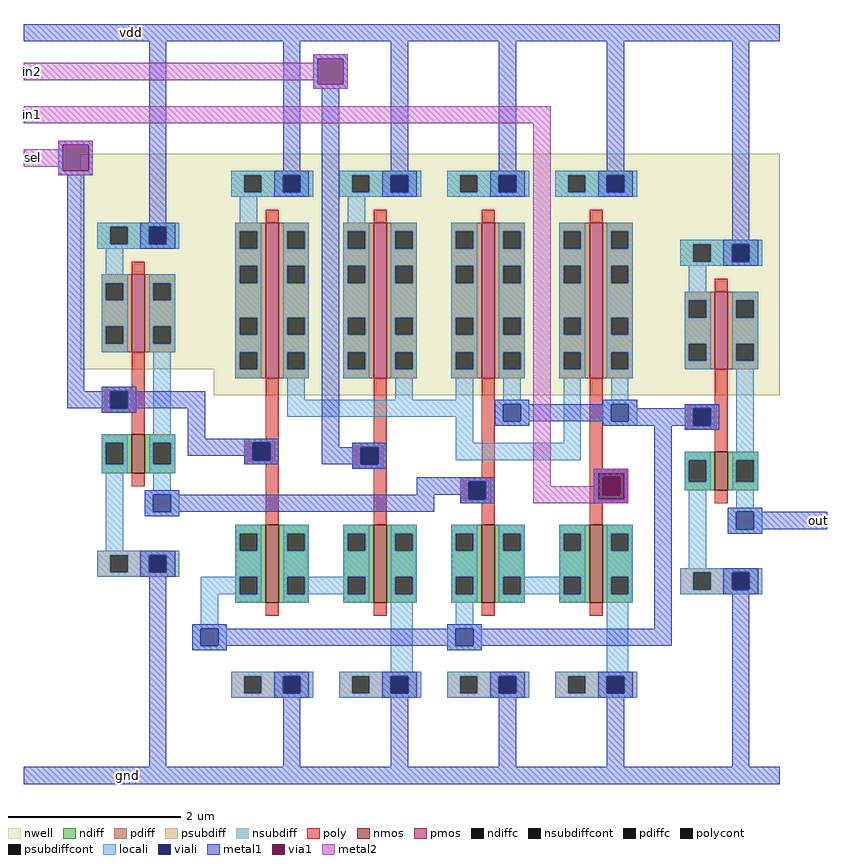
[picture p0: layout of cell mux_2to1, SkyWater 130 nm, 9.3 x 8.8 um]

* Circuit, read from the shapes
.subckt mux_2to1 gnd in1 in2 out sel vdd
XM1 n1 sel gnd gnd sky130_fd_pr__nfet_01v8 w=0.45 l=0.15
XM2 n2 sel n3 gnd sky130_fd_pr__nfet_01v8 w=0.9 l=0.15
XM3 gnd in2 n2 gnd sky130_fd_pr__nfet_01v8 w=0.9 l=0.15
XM4 n4 n1 n3 gnd sky130_fd_pr__nfet_01v8 w=0.9 l=0.15
XM5 gnd in1 n4 gnd sky130_fd_pr__nfet_01v8 w=0.9 l=0.15
XM6 out n3 gnd gnd sky130_fd_pr__nfet_01v8 w=0.45 l=0.15
XM7 n1 sel vdd vdd sky130_fd_pr__pfet_01v8 w=0.9 l=0.15
XM8 n5 sel vdd vdd sky130_fd_pr__pfet_01v8 w=1.8 l=0.15
XM9 n5 in2 vdd vdd sky130_fd_pr__pfet_01v8 w=1.8 l=0.15
XM10 n3 n1 n5 vdd sky130_fd_pr__pfet_01v8 w=1.8 l=0.15
XM11 n3 in1 n5 vdd sky130_fd_pr__pfet_01v8 w=1.8 l=0.15
XM12 out n3 vdd vdd sky130_fd_pr__pfet_01v8 w=0.9 l=0.15
.ends

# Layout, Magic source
magic
tech sky130A
<< nwell >>
rect 1180 440 1990 690
rect 1335 410 1990 440
<< nmos >>
rect 1240 320 1255 365
rect 1915 300 1930 345
rect 1395 170 1410 260
rect 1520 170 1535 260
rect 1645 170 1660 260
rect 1770 170 1785 260
<< pmos >>
rect 1240 460 1255 550
rect 1395 430 1410 610
rect 1520 430 1535 610
rect 1645 430 1660 610
rect 1770 430 1785 610
rect 1915 440 1930 530
<< ndiff >>
rect 1205 355 1240 365
rect 1205 330 1210 355
rect 1230 330 1240 355
rect 1205 320 1240 330
rect 1255 355 1290 365
rect 1255 330 1265 355
rect 1285 330 1290 355
rect 1255 320 1290 330
rect 1880 335 1915 345
rect 1880 310 1885 335
rect 1905 310 1915 335
rect 1880 300 1915 310
rect 1930 335 1965 345
rect 1930 310 1940 335
rect 1960 310 1965 335
rect 1930 300 1965 310
rect 1360 250 1395 260
rect 1360 230 1365 250
rect 1385 230 1395 250
rect 1360 200 1395 230
rect 1360 180 1365 200
rect 1385 180 1395 200
rect 1360 170 1395 180
rect 1410 250 1445 260
rect 1410 230 1420 250
rect 1440 230 1445 250
rect 1410 200 1445 230
rect 1410 180 1420 200
rect 1440 180 1445 200
rect 1410 170 1445 180
rect 1485 250 1520 260
rect 1485 230 1490 250
rect 1510 230 1520 250
rect 1485 200 1520 230
rect 1485 180 1490 200
rect 1510 180 1520 200
rect 1485 170 1520 180
rect 1535 250 1570 260
rect 1535 230 1545 250
rect 1565 230 1570 250
rect 1535 200 1570 230
rect 1535 180 1545 200
rect 1565 180 1570 200
rect 1535 170 1570 180
rect 1610 250 1645 260
rect 1610 230 1615 250
rect 1635 230 1645 250
rect 1610 200 1645 230
rect 1610 180 1615 200
rect 1635 180 1645 200
rect 1610 170 1645 180
rect 1660 250 1695 260
rect 1660 230 1670 250
rect 1690 230 1695 250
rect 1660 200 1695 230
rect 1660 180 1670 200
rect 1690 180 1695 200
rect 1660 170 1695 180
rect 1735 250 1770 260
rect 1735 230 1740 250
rect 1760 230 1770 250
rect 1735 200 1770 230
rect 1735 180 1740 200
rect 1760 180 1770 200
rect 1735 170 1770 180
rect 1785 250 1820 260
rect 1785 230 1795 250
rect 1815 230 1820 250
rect 1785 200 1820 230
rect 1785 180 1795 200
rect 1815 180 1820 200
rect 1785 170 1820 180
<< pdiff >>
rect 1360 600 1395 610
rect 1360 580 1365 600
rect 1385 580 1395 600
rect 1360 560 1395 580
rect 1205 540 1240 550
rect 1205 520 1210 540
rect 1230 520 1240 540
rect 1205 490 1240 520
rect 1205 470 1210 490
rect 1230 470 1240 490
rect 1205 460 1240 470
rect 1255 540 1290 550
rect 1255 520 1265 540
rect 1285 520 1290 540
rect 1255 490 1290 520
rect 1255 470 1265 490
rect 1285 470 1290 490
rect 1255 460 1290 470
rect 1360 540 1365 560
rect 1385 540 1395 560
rect 1360 500 1395 540
rect 1360 480 1365 500
rect 1385 480 1395 500
rect 1360 460 1395 480
rect 1360 440 1365 460
rect 1385 440 1395 460
rect 1360 430 1395 440
rect 1410 600 1445 610
rect 1410 580 1420 600
rect 1440 580 1445 600
rect 1410 560 1445 580
rect 1410 540 1420 560
rect 1440 540 1445 560
rect 1410 500 1445 540
rect 1410 480 1420 500
rect 1440 480 1445 500
rect 1410 460 1445 480
rect 1410 440 1420 460
rect 1440 440 1445 460
rect 1410 430 1445 440
rect 1485 600 1520 610
rect 1485 580 1490 600
rect 1510 580 1520 600
rect 1485 560 1520 580
rect 1485 540 1490 560
rect 1510 540 1520 560
rect 1485 500 1520 540
rect 1485 480 1490 500
rect 1510 480 1520 500
rect 1485 460 1520 480
rect 1485 440 1490 460
rect 1510 440 1520 460
rect 1485 430 1520 440
rect 1535 600 1570 610
rect 1535 580 1545 600
rect 1565 580 1570 600
rect 1535 560 1570 580
rect 1535 540 1545 560
rect 1565 540 1570 560
rect 1535 500 1570 540
rect 1535 480 1545 500
rect 1565 480 1570 500
rect 1535 460 1570 480
rect 1535 440 1545 460
rect 1565 440 1570 460
rect 1535 430 1570 440
rect 1610 600 1645 610
rect 1610 580 1615 600
rect 1635 580 1645 600
rect 1610 560 1645 580
rect 1610 540 1615 560
rect 1635 540 1645 560
rect 1610 500 1645 540
rect 1610 480 1615 500
rect 1635 480 1645 500
rect 1610 460 1645 480
rect 1610 440 1615 460
rect 1635 440 1645 460
rect 1610 430 1645 440
rect 1660 600 1695 610
rect 1660 580 1670 600
rect 1690 580 1695 600
rect 1660 560 1695 580
rect 1660 540 1670 560
rect 1690 540 1695 560
rect 1660 500 1695 540
rect 1660 480 1670 500
rect 1690 480 1695 500
rect 1660 460 1695 480
rect 1660 440 1670 460
rect 1690 440 1695 460
rect 1660 430 1695 440
rect 1735 600 1770 610
rect 1735 580 1740 600
rect 1760 580 1770 600
rect 1735 560 1770 580
rect 1735 540 1740 560
rect 1760 540 1770 560
rect 1735 500 1770 540
rect 1735 480 1740 500
rect 1760 480 1770 500
rect 1735 460 1770 480
rect 1735 440 1740 460
rect 1760 440 1770 460
rect 1735 430 1770 440
rect 1785 600 1820 610
rect 1785 580 1795 600
rect 1815 580 1820 600
rect 1785 560 1820 580
rect 1785 540 1795 560
rect 1815 540 1820 560
rect 1785 500 1820 540
rect 1785 480 1795 500
rect 1815 480 1820 500
rect 1785 460 1820 480
rect 1785 440 1795 460
rect 1815 440 1820 460
rect 1880 520 1915 530
rect 1880 500 1885 520
rect 1905 500 1915 520
rect 1880 470 1915 500
rect 1880 450 1885 470
rect 1905 450 1915 470
rect 1880 440 1915 450
rect 1930 520 1965 530
rect 1930 500 1940 520
rect 1960 500 1965 520
rect 1930 470 1965 500
rect 1930 450 1940 470
rect 1960 450 1965 470
rect 1930 440 1965 450
rect 1785 430 1820 440
<< ndiffc >>
rect 1210 330 1230 355
rect 1265 330 1285 355
rect 1885 310 1905 335
rect 1940 310 1960 335
rect 1365 230 1385 250
rect 1365 180 1385 200
rect 1420 230 1440 250
rect 1420 180 1440 200
rect 1490 230 1510 250
rect 1490 180 1510 200
rect 1545 230 1565 250
rect 1545 180 1565 200
rect 1615 230 1635 250
rect 1615 180 1635 200
rect 1670 230 1690 250
rect 1670 180 1690 200
rect 1740 230 1760 250
rect 1740 180 1760 200
rect 1795 230 1815 250
rect 1795 180 1815 200
<< pdiffc >>
rect 1365 580 1385 600
rect 1210 520 1230 540
rect 1210 470 1230 490
rect 1265 520 1285 540
rect 1265 470 1285 490
rect 1365 540 1385 560
rect 1365 480 1385 500
rect 1365 440 1385 460
rect 1420 580 1440 600
rect 1420 540 1440 560
rect 1420 480 1440 500
rect 1420 440 1440 460
rect 1490 580 1510 600
rect 1490 540 1510 560
rect 1490 480 1510 500
rect 1490 440 1510 460
rect 1545 580 1565 600
rect 1545 540 1565 560
rect 1545 480 1565 500
rect 1545 440 1565 460
rect 1615 580 1635 600
rect 1615 540 1635 560
rect 1615 480 1635 500
rect 1615 440 1635 460
rect 1670 580 1690 600
rect 1670 540 1690 560
rect 1670 480 1690 500
rect 1670 440 1690 460
rect 1740 580 1760 600
rect 1740 540 1760 560
rect 1740 480 1760 500
rect 1740 440 1760 460
rect 1795 580 1815 600
rect 1795 540 1815 560
rect 1795 480 1815 500
rect 1795 440 1815 460
rect 1885 500 1905 520
rect 1885 450 1905 470
rect 1940 500 1960 520
rect 1940 450 1960 470
<< psubdiff >>
rect 1200 225 1295 230
rect 1200 205 1215 225
rect 1235 205 1260 225
rect 1280 205 1295 225
rect 1200 200 1295 205
rect 1875 205 1970 210
rect 1875 185 1890 205
rect 1910 185 1935 205
rect 1955 185 1970 205
rect 1875 180 1970 185
rect 1355 85 1450 90
rect 1355 65 1370 85
rect 1390 65 1415 85
rect 1435 65 1450 85
rect 1355 60 1450 65
rect 1480 85 1575 90
rect 1480 65 1495 85
rect 1515 65 1540 85
rect 1560 65 1575 85
rect 1480 60 1575 65
rect 1605 85 1700 90
rect 1605 65 1620 85
rect 1640 65 1665 85
rect 1685 65 1700 85
rect 1605 60 1700 65
rect 1730 85 1825 90
rect 1730 65 1745 85
rect 1765 65 1790 85
rect 1810 65 1825 85
rect 1730 60 1825 65
<< nsubdiff >>
rect 1355 665 1450 670
rect 1355 645 1370 665
rect 1390 645 1415 665
rect 1435 645 1450 665
rect 1355 640 1450 645
rect 1480 665 1575 670
rect 1480 645 1495 665
rect 1515 645 1540 665
rect 1560 645 1575 665
rect 1480 640 1575 645
rect 1605 665 1700 670
rect 1605 645 1620 665
rect 1640 645 1665 665
rect 1685 645 1700 665
rect 1605 640 1700 645
rect 1730 665 1825 670
rect 1730 645 1745 665
rect 1765 645 1790 665
rect 1810 645 1825 665
rect 1730 640 1825 645
rect 1200 605 1295 610
rect 1200 585 1215 605
rect 1235 585 1260 605
rect 1280 585 1295 605
rect 1200 580 1295 585
rect 1875 585 1970 590
rect 1875 565 1890 585
rect 1910 565 1935 585
rect 1955 565 1970 585
rect 1875 560 1970 565
<< psubdiffcont >>
rect 1215 205 1235 225
rect 1260 205 1280 225
rect 1890 185 1910 205
rect 1935 185 1955 205
rect 1370 65 1390 85
rect 1415 65 1435 85
rect 1495 65 1515 85
rect 1540 65 1560 85
rect 1620 65 1640 85
rect 1665 65 1685 85
rect 1745 65 1765 85
rect 1790 65 1810 85
<< nsubdiffcont >>
rect 1370 645 1390 665
rect 1415 645 1435 665
rect 1495 645 1515 665
rect 1540 645 1560 665
rect 1620 645 1640 665
rect 1665 645 1685 665
rect 1745 645 1765 665
rect 1790 645 1810 665
rect 1215 585 1235 605
rect 1260 585 1280 605
rect 1890 565 1910 585
rect 1935 565 1955 585
<< poly >>
rect 1395 610 1410 625
rect 1520 610 1535 625
rect 1645 610 1660 625
rect 1770 610 1785 625
rect 1240 550 1255 565
rect 1240 420 1255 460
rect 1915 530 1930 545
rect 1205 415 1255 420
rect 1205 395 1215 415
rect 1235 395 1255 415
rect 1205 390 1255 395
rect 1240 365 1255 390
rect 1395 360 1410 430
rect 1370 355 1410 360
rect 1520 355 1535 430
rect 1370 335 1380 355
rect 1400 335 1410 355
rect 1370 330 1410 335
rect 1240 305 1255 320
rect 1395 260 1410 330
rect 1495 350 1535 355
rect 1495 330 1505 350
rect 1525 330 1535 350
rect 1495 325 1535 330
rect 1520 260 1535 325
rect 1645 315 1660 430
rect 1620 310 1660 315
rect 1620 290 1630 310
rect 1650 290 1660 310
rect 1620 285 1660 290
rect 1645 260 1660 285
rect 1770 325 1785 430
rect 1915 400 1930 440
rect 1880 395 1930 400
rect 1880 375 1890 395
rect 1910 375 1930 395
rect 1880 370 1930 375
rect 1915 345 1930 370
rect 1770 315 1815 325
rect 1770 295 1785 315
rect 1805 295 1815 315
rect 1770 285 1815 295
rect 1915 285 1930 300
rect 1770 260 1785 285
rect 1395 155 1410 170
rect 1520 155 1535 170
rect 1645 155 1660 170
rect 1770 155 1785 170
<< polycont >>
rect 1215 395 1235 415
rect 1380 335 1400 355
rect 1505 330 1525 350
rect 1630 290 1650 310
rect 1890 375 1910 395
rect 1785 295 1805 315
<< locali >>
rect 1355 665 1450 670
rect 1355 645 1370 665
rect 1390 645 1415 665
rect 1435 645 1450 665
rect 1355 640 1450 645
rect 1480 665 1575 670
rect 1480 645 1495 665
rect 1515 645 1540 665
rect 1560 645 1575 665
rect 1480 640 1575 645
rect 1605 665 1700 670
rect 1605 645 1620 665
rect 1640 645 1665 665
rect 1685 645 1700 665
rect 1605 640 1700 645
rect 1730 665 1825 670
rect 1730 645 1745 665
rect 1765 645 1790 665
rect 1810 645 1825 665
rect 1730 640 1825 645
rect 1365 610 1385 640
rect 1490 610 1510 640
rect 1200 605 1295 610
rect 1200 585 1215 605
rect 1235 585 1260 605
rect 1280 585 1295 605
rect 1200 580 1295 585
rect 1360 600 1390 610
rect 1360 580 1365 600
rect 1385 580 1390 600
rect 1210 550 1230 580
rect 1360 560 1390 580
rect 1205 540 1235 550
rect 1205 520 1210 540
rect 1230 520 1235 540
rect 1205 490 1235 520
rect 1205 470 1210 490
rect 1230 470 1235 490
rect 1205 460 1235 470
rect 1260 540 1290 550
rect 1260 520 1265 540
rect 1285 520 1290 540
rect 1260 490 1290 520
rect 1260 470 1265 490
rect 1285 470 1290 490
rect 1260 460 1290 470
rect 1360 540 1365 560
rect 1385 540 1390 560
rect 1360 500 1390 540
rect 1360 480 1365 500
rect 1385 480 1390 500
rect 1360 460 1390 480
rect 1205 415 1245 420
rect 1205 395 1215 415
rect 1235 395 1245 415
rect 1205 390 1245 395
rect 1265 365 1285 460
rect 1360 440 1365 460
rect 1385 440 1390 460
rect 1360 430 1390 440
rect 1415 600 1445 610
rect 1415 580 1420 600
rect 1440 580 1445 600
rect 1415 560 1445 580
rect 1415 540 1420 560
rect 1440 540 1445 560
rect 1415 500 1445 540
rect 1415 480 1420 500
rect 1440 480 1445 500
rect 1415 460 1445 480
rect 1415 440 1420 460
rect 1440 440 1445 460
rect 1415 430 1445 440
rect 1485 600 1515 610
rect 1485 580 1490 600
rect 1510 580 1515 600
rect 1485 560 1515 580
rect 1485 540 1490 560
rect 1510 540 1515 560
rect 1485 500 1515 540
rect 1485 480 1490 500
rect 1510 480 1515 500
rect 1485 460 1515 480
rect 1485 440 1490 460
rect 1510 440 1515 460
rect 1485 430 1515 440
rect 1540 600 1570 610
rect 1540 580 1545 600
rect 1565 580 1570 600
rect 1540 560 1570 580
rect 1540 540 1545 560
rect 1565 540 1570 560
rect 1540 500 1570 540
rect 1540 480 1545 500
rect 1565 480 1570 500
rect 1540 460 1570 480
rect 1540 440 1545 460
rect 1565 440 1570 460
rect 1540 430 1570 440
rect 1610 600 1640 610
rect 1610 580 1615 600
rect 1635 580 1640 600
rect 1610 560 1640 580
rect 1610 540 1615 560
rect 1635 540 1640 560
rect 1610 500 1640 540
rect 1610 480 1615 500
rect 1635 480 1640 500
rect 1610 460 1640 480
rect 1610 440 1615 460
rect 1635 440 1640 460
rect 1610 430 1640 440
rect 1665 600 1695 610
rect 1665 580 1670 600
rect 1690 580 1695 600
rect 1665 560 1695 580
rect 1665 540 1670 560
rect 1690 540 1695 560
rect 1665 500 1695 540
rect 1665 480 1670 500
rect 1690 480 1695 500
rect 1665 460 1695 480
rect 1665 440 1670 460
rect 1690 440 1695 460
rect 1665 430 1695 440
rect 1735 600 1765 610
rect 1735 580 1740 600
rect 1760 580 1765 600
rect 1735 560 1765 580
rect 1735 540 1740 560
rect 1760 540 1765 560
rect 1735 500 1765 540
rect 1735 480 1740 500
rect 1760 480 1765 500
rect 1735 460 1765 480
rect 1735 440 1740 460
rect 1760 440 1765 460
rect 1735 430 1765 440
rect 1790 600 1820 610
rect 1790 580 1795 600
rect 1815 580 1820 600
rect 1790 560 1820 580
rect 1875 585 1970 590
rect 1875 565 1890 585
rect 1910 565 1935 585
rect 1955 565 1970 585
rect 1875 560 1970 565
rect 1790 540 1795 560
rect 1815 540 1820 560
rect 1790 500 1820 540
rect 1885 530 1905 560
rect 1790 480 1795 500
rect 1815 480 1820 500
rect 1790 460 1820 480
rect 1790 440 1795 460
rect 1815 440 1820 460
rect 1880 520 1910 530
rect 1880 500 1885 520
rect 1905 500 1910 520
rect 1880 470 1910 500
rect 1880 450 1885 470
rect 1905 450 1910 470
rect 1880 440 1910 450
rect 1935 520 1965 530
rect 1935 500 1940 520
rect 1960 500 1965 520
rect 1935 470 1965 500
rect 1935 450 1940 470
rect 1960 450 1965 470
rect 1935 440 1965 450
rect 1790 430 1820 440
rect 1420 405 1440 430
rect 1545 405 1565 430
rect 1615 405 1635 430
rect 1670 405 1690 430
rect 1420 385 1635 405
rect 1205 355 1235 365
rect 1205 330 1210 355
rect 1230 330 1235 355
rect 1205 320 1235 330
rect 1260 355 1290 365
rect 1260 330 1265 355
rect 1285 330 1290 355
rect 1370 355 1410 360
rect 1615 355 1635 385
rect 1660 400 1700 405
rect 1660 380 1670 400
rect 1690 380 1700 400
rect 1660 375 1700 380
rect 1740 355 1760 430
rect 1795 405 1815 430
rect 1785 400 1825 405
rect 1785 380 1795 400
rect 1815 380 1825 400
rect 1785 375 1825 380
rect 1880 395 1920 400
rect 1880 375 1890 395
rect 1910 375 1920 395
rect 1880 370 1920 375
rect 1370 335 1380 355
rect 1400 335 1410 355
rect 1370 330 1410 335
rect 1495 350 1535 355
rect 1495 330 1505 350
rect 1525 330 1535 350
rect 1615 335 1760 355
rect 1940 345 1960 440
rect 1880 335 1910 345
rect 1260 320 1290 330
rect 1495 325 1535 330
rect 1210 230 1230 320
rect 1265 300 1285 320
rect 1775 315 1815 325
rect 1620 310 1660 315
rect 1255 295 1295 300
rect 1255 275 1265 295
rect 1285 275 1295 295
rect 1620 290 1630 310
rect 1650 290 1660 310
rect 1620 285 1660 290
rect 1775 295 1785 315
rect 1805 295 1815 315
rect 1880 310 1885 335
rect 1905 310 1910 335
rect 1880 300 1910 310
rect 1935 335 1965 345
rect 1935 310 1940 335
rect 1960 310 1965 335
rect 1935 300 1965 310
rect 1775 285 1815 295
rect 1255 270 1295 275
rect 1360 250 1390 260
rect 1360 230 1365 250
rect 1385 230 1390 250
rect 1200 225 1295 230
rect 1200 205 1215 225
rect 1235 205 1260 225
rect 1280 205 1295 225
rect 1200 200 1295 205
rect 1360 200 1390 230
rect 1320 180 1365 200
rect 1385 180 1390 200
rect 1320 145 1340 180
rect 1360 170 1390 180
rect 1415 250 1445 260
rect 1415 230 1420 250
rect 1440 230 1445 250
rect 1415 200 1445 230
rect 1485 250 1515 260
rect 1485 230 1490 250
rect 1510 230 1515 250
rect 1485 200 1515 230
rect 1415 180 1420 200
rect 1440 180 1490 200
rect 1510 180 1515 200
rect 1415 170 1445 180
rect 1485 170 1515 180
rect 1540 250 1570 260
rect 1540 230 1545 250
rect 1565 230 1570 250
rect 1540 200 1570 230
rect 1540 180 1545 200
rect 1565 180 1570 200
rect 1540 170 1570 180
rect 1610 250 1640 260
rect 1610 230 1615 250
rect 1635 230 1640 250
rect 1610 200 1640 230
rect 1610 180 1615 200
rect 1635 180 1640 200
rect 1610 170 1640 180
rect 1665 250 1695 260
rect 1665 230 1670 250
rect 1690 230 1695 250
rect 1665 200 1695 230
rect 1735 250 1765 260
rect 1735 230 1740 250
rect 1760 230 1765 250
rect 1735 200 1765 230
rect 1665 180 1670 200
rect 1690 180 1740 200
rect 1760 180 1765 200
rect 1665 170 1695 180
rect 1735 170 1765 180
rect 1790 250 1820 260
rect 1790 230 1795 250
rect 1815 230 1820 250
rect 1790 200 1820 230
rect 1885 210 1905 300
rect 1940 280 1960 300
rect 1930 275 1970 280
rect 1930 255 1940 275
rect 1960 255 1970 275
rect 1930 250 1970 255
rect 1790 180 1795 200
rect 1815 180 1820 200
rect 1875 205 1970 210
rect 1875 185 1890 205
rect 1910 185 1935 205
rect 1955 185 1970 205
rect 1875 180 1970 185
rect 1790 170 1820 180
rect 1310 140 1350 145
rect 1310 120 1320 140
rect 1340 120 1350 140
rect 1310 115 1350 120
rect 1540 90 1565 170
rect 1615 145 1635 170
rect 1605 140 1645 145
rect 1605 120 1615 140
rect 1635 120 1645 140
rect 1605 115 1645 120
rect 1790 90 1815 170
rect 1355 85 1450 90
rect 1355 65 1370 85
rect 1390 65 1415 85
rect 1435 65 1450 85
rect 1355 60 1450 65
rect 1480 85 1575 90
rect 1480 65 1495 85
rect 1515 65 1540 85
rect 1560 65 1575 85
rect 1480 60 1575 65
rect 1605 85 1700 90
rect 1605 65 1620 85
rect 1640 65 1665 85
rect 1685 65 1700 85
rect 1605 60 1700 65
rect 1730 85 1825 90
rect 1730 65 1745 85
rect 1765 65 1790 85
rect 1810 65 1825 85
rect 1730 60 1825 65
<< viali >>
rect 1415 645 1435 665
rect 1540 645 1560 665
rect 1665 645 1685 665
rect 1790 645 1810 665
rect 1260 585 1280 605
rect 1215 395 1235 415
rect 1935 565 1955 585
rect 1670 380 1690 400
rect 1795 380 1815 400
rect 1890 375 1910 395
rect 1380 335 1400 355
rect 1505 330 1525 350
rect 1265 275 1285 295
rect 1630 290 1650 310
rect 1785 295 1805 315
rect 1260 205 1280 225
rect 1940 255 1960 275
rect 1935 185 1955 205
rect 1320 120 1340 140
rect 1615 120 1635 140
rect 1415 65 1435 85
rect 1540 65 1560 85
rect 1665 65 1685 85
rect 1790 65 1810 85
<< metal1 >>
rect 1115 820 1990 840
rect 1155 700 1195 705
rect 1155 670 1160 700
rect 1190 670 1195 700
rect 1155 665 1195 670
rect 1165 415 1185 665
rect 1260 610 1280 820
rect 1415 670 1435 820
rect 1450 800 1490 805
rect 1450 770 1455 800
rect 1485 770 1490 800
rect 1450 765 1490 770
rect 1405 665 1445 670
rect 1405 645 1415 665
rect 1435 645 1445 665
rect 1405 640 1445 645
rect 1250 605 1290 610
rect 1250 585 1260 605
rect 1280 585 1290 605
rect 1250 580 1290 585
rect 1205 415 1245 420
rect 1165 395 1215 415
rect 1235 395 1325 415
rect 1205 390 1245 395
rect 1305 360 1325 395
rect 1305 355 1410 360
rect 1305 340 1380 355
rect 1370 335 1380 340
rect 1400 335 1410 355
rect 1370 330 1410 335
rect 1460 350 1480 765
rect 1540 670 1560 820
rect 1665 670 1685 820
rect 1790 670 1810 820
rect 1530 665 1570 670
rect 1530 645 1540 665
rect 1560 645 1570 665
rect 1530 640 1570 645
rect 1655 665 1695 670
rect 1655 645 1665 665
rect 1685 645 1695 665
rect 1655 640 1695 645
rect 1780 665 1820 670
rect 1780 645 1790 665
rect 1810 645 1820 665
rect 1780 640 1820 645
rect 1935 590 1955 820
rect 1925 585 1965 590
rect 1925 565 1935 585
rect 1955 565 1965 585
rect 1925 560 1965 565
rect 1660 400 1700 405
rect 1785 400 1825 405
rect 1660 380 1670 400
rect 1690 380 1795 400
rect 1815 395 1825 400
rect 1880 395 1920 400
rect 1815 380 1890 395
rect 1660 375 1700 380
rect 1785 375 1890 380
rect 1910 375 1920 395
rect 1495 350 1535 355
rect 1460 330 1505 350
rect 1525 330 1535 350
rect 1495 325 1535 330
rect 1775 320 1815 325
rect 1570 310 1660 315
rect 1255 295 1295 300
rect 1570 295 1630 310
rect 1255 275 1265 295
rect 1285 275 1590 295
rect 1620 290 1630 295
rect 1650 290 1660 310
rect 1620 285 1660 290
rect 1775 290 1780 320
rect 1810 290 1815 320
rect 1775 285 1815 290
rect 1255 270 1295 275
rect 1250 225 1290 230
rect 1250 205 1260 225
rect 1280 205 1290 225
rect 1250 200 1290 205
rect 1260 -20 1280 200
rect 1310 140 1350 145
rect 1605 140 1645 145
rect 1845 140 1865 375
rect 1880 370 1920 375
rect 1930 275 1970 280
rect 1930 255 1940 275
rect 1960 255 2045 275
rect 1930 250 1970 255
rect 1925 205 1965 210
rect 1925 185 1935 205
rect 1955 185 1965 205
rect 1925 180 1965 185
rect 1310 120 1320 140
rect 1340 120 1615 140
rect 1635 120 1865 140
rect 1310 115 1350 120
rect 1605 115 1645 120
rect 1405 85 1445 90
rect 1405 65 1415 85
rect 1435 65 1445 85
rect 1405 60 1445 65
rect 1530 85 1570 90
rect 1530 65 1540 85
rect 1560 65 1570 85
rect 1530 60 1570 65
rect 1655 85 1695 90
rect 1655 65 1665 85
rect 1685 65 1695 85
rect 1655 60 1695 65
rect 1780 85 1820 90
rect 1780 65 1790 85
rect 1810 65 1820 85
rect 1780 60 1820 65
rect 1415 -20 1435 60
rect 1540 -20 1560 60
rect 1665 -20 1685 60
rect 1790 -20 1810 60
rect 1935 -20 1955 180
rect 1115 -40 1990 -20
<< via1 >>
rect 1160 670 1190 700
rect 1455 770 1485 800
rect 1780 315 1810 320
rect 1780 295 1785 315
rect 1785 295 1805 315
rect 1805 295 1810 315
rect 1780 290 1810 295
<< metal2 >>
rect 1450 800 1490 805
rect 1450 795 1455 800
rect 1115 775 1455 795
rect 1450 770 1455 775
rect 1485 770 1490 800
rect 1450 765 1490 770
rect 1115 725 1725 745
rect 1155 700 1195 705
rect 1155 695 1160 700
rect 1115 675 1160 695
rect 1155 670 1160 675
rect 1190 670 1195 700
rect 1155 665 1195 670
rect 1705 305 1725 725
rect 1775 320 1815 325
rect 1775 305 1780 320
rect 1705 290 1780 305
rect 1810 290 1815 320
rect 1705 285 1815 290
<< labels >>
rlabel metal2 1120 675 1130 695 1 sel
rlabel metal2 1120 725 1130 745 1 in1
rlabel metal2 1120 775 1130 795 1 in2
rlabel metal1 1240 830 1240 830 1 vdd
rlabel metal1 2030 255 2040 275 1 out
rlabel metal1 1235 -30 1235 -30 1 gnd
<< end >>
